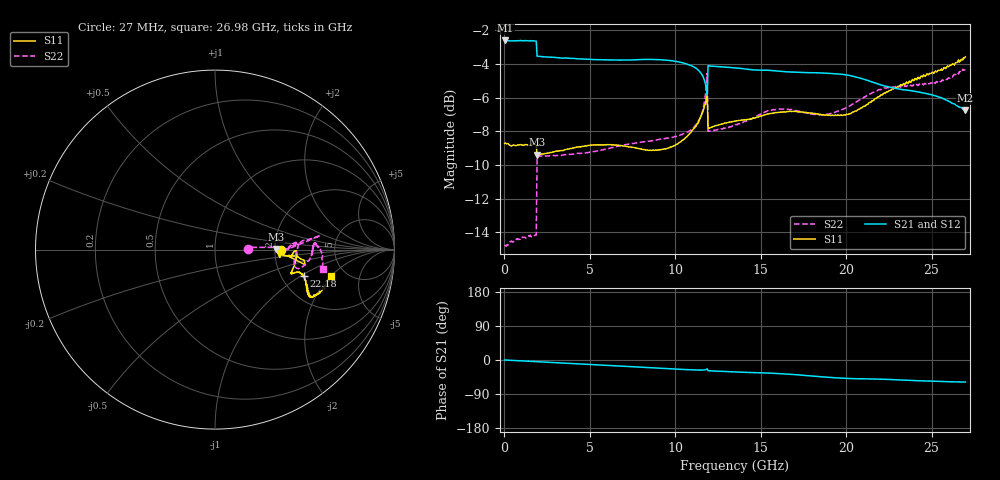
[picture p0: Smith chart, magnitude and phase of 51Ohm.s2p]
#  HZ  S  MA  R  50.00
! Rohde & Schwarz ZVA67 4Ports - Version 4.11 - 1305.7002k04 SN: 101051
! Date: 2023-05-24 10:55:58
! Measurements: S11 S21 S12 S22
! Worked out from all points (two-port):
!   540 points, 27 MHz to 26.98 GHz, reference 50 ohm
!   highest |S21| = -2.59 dB at 77 MHz (marker M1); lowest = -6.8 dB at 26.98 GHz (marker M2)
!   |S21| within 3 dB of the highest: start of sweep to 11.84 GHz; 11.88 GHz to 23.87 GHz (11.98 GHz wide, 67 % of centre)
!   lowest |S11| = -9.4 dB at 1.927 GHz (marker M3), VSWR 2.03, Z = 101 + j0.702 ohm
!   |S11| at or under -10 dB: nowhere
!   |S22| runs from -14.8 to -4.3 dB; largest |S21 - S12| = 0.049
!   S11 on the Smith chart (normalised r, x): 27 MHz: 2.16, -0.02; 22.18 GHz: 2.64, -1.07; 26.98 GHz: 3.86, -1.99
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2.7e7  0.3669 -0.5  0.7413 0.0  0.7418 -0.3  0.1831 0.3
7.7e7  0.3678 -0.3  0.742 0.0  0.7408 -0.5  0.1822 -0.1
1.777e9  0.3638 -6.7  0.7392 -4.0  0.7374 -4.4  0.1955 3.3
1.927e9  0.3398 0.5  0.6662 -4.5  0.6651 -5.0  0.3357 2.1
2.027e9  0.3401 0.5  0.6654 -4.7  0.664 -5.2  0.3358 2.3
4.527e9  0.359 -0.4  0.6538 -10.7  0.6523 -11.7  0.3429 1.1
9.027e9  0.3512 -1.4  0.6505 -21.4  0.6488 -23.3  0.3766 -1.2
1.1177e10  0.4117 -5.2  0.6156 -26.2  0.6139 -28.6  0.4145 1.5
1.1577e10  0.4503 -5.1  0.5865 -26.5  0.5844 -29.0  0.4529 4.1
1.1777e10  0.4788 -6.3  0.5514 -25.7  0.549 -28.2  0.516 6.0
1.2027e10  0.408 -5.1  0.6229 -28.4  0.6216 -31.2  0.399 0.1
1.3527e10  0.4274 -4.8  0.6147 -31.5  0.611 -34.1  0.417 2.3
1.6127e10  0.4536 -1.5  0.6012 -36.1  0.5999 -39.2  0.4641 3.7
1.8027e10  0.451 -10.8  0.5952 -42.4  0.5947 -46.0  0.448 -4.6
1.9227e10  0.4448 -16.7  0.5912 -46.4  0.5916 -50.6  0.4528 -11.3
2.0227e10  0.4493 -17.1  0.5837 -48.9  0.5832 -53.0  0.4745 -12.9
2.2177e10  0.516 -16.7  0.545 -50.9  0.5432 -55.5  0.534 -5.1
2.2527e10  0.5271 -17.9  0.5391 -51.3  0.5376 -56.3  0.5376 -3.6
2.4427e10  0.5805 -25.5  0.5187 -55.0  0.5161 -59.9  0.5493 2.5
2.5427e10  0.605 -25.4  0.5033 -56.4  0.5006 -61.6  0.5611 3.7
2.6427e10  0.6379 -20.9  0.4773 -57.7  0.4749 -63.1  0.5886 -0.8
2.6977e10  0.6635 -12.6  0.4597 -58.0  0.4574 -63.4  0.609 -10.4
